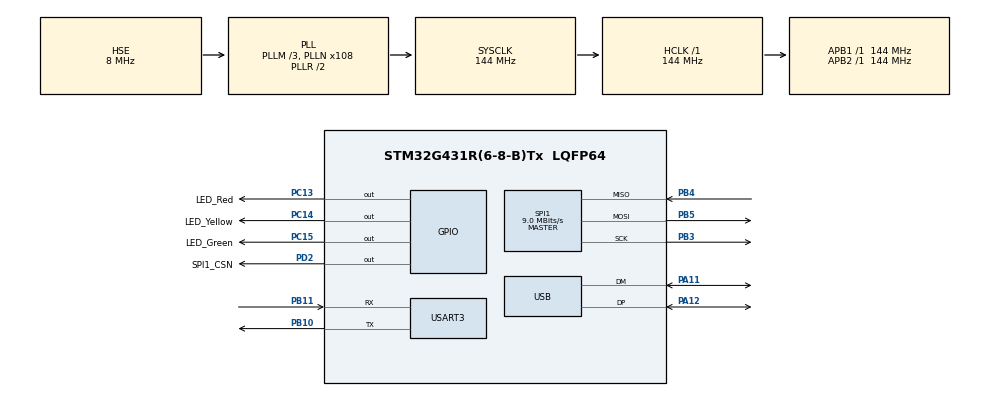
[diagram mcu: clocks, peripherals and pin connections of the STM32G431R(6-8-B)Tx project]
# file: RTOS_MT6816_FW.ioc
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Dma.Request0=USART3_RX
Dma.Request1=USART3_TX
Dma.USART3_RX.0.Direction=DMA_PERIPH_TO_MEMORY
Dma.USART3_RX.0.EventEnable=DISABLE
Dma.USART3_RX.0.Instance=DMA1_Channel1
Dma.USART3_RX.0.MemDataAlignment=DMA_MDATAALIGN_BYTE
Dma.USART3_RX.0.MemInc=DMA_MINC_ENABLE
Dma.USART3_RX.0.Mode=DMA_CIRCULAR
Dma.USART3_RX.0.PeriphDataAlignment=DMA_PDATAALIGN_BYTE
Dma.USART3_RX.0.PeriphInc=DMA_PINC_DISABLE
Dma.USART3_RX.0.Polarity=HAL_DMAMUX_REQ_GEN_RISING
Dma.USART3_RX.0.Priority=DMA_PRIORITY_LOW
Dma.USART3_RX.0.RequestNumber=1
Dma.USART3_RX.0.SignalID=NONE
Dma.USART3_RX.0.SyncEnable=DISABLE
Dma.USART3_RX.0.SyncPolarity=HAL_DMAMUX_SYNC_NO_EVENT
Dma.USART3_RX.0.SyncRequestNumber=1
Dma.USART3_RX.0.SyncSignalID=NONE
Dma.USART3_TX.1.Direction=DMA_MEMORY_TO_PERIPH
Dma.USART3_TX.1.EventEnable=DISABLE
Dma.USART3_TX.1.Instance=DMA1_Channel2
Dma.USART3_TX.1.MemDataAlignment=DMA_MDATAALIGN_BYTE
Dma.USART3_TX.1.MemInc=DMA_MINC_ENABLE
Dma.USART3_TX.1.Mode=DMA_NORMAL
Dma.USART3_TX.1.PeriphDataAlignment=DMA_PDATAALIGN_BYTE
Dma.USART3_TX.1.PeriphInc=DMA_PINC_DISABLE
Dma.USART3_TX.1.Polarity=HAL_DMAMUX_REQ_GEN_RISING
Dma.USART3_TX.1.Priority=DMA_PRIORITY_LOW
Dma.USART3_TX.1.RequestNumber=1
Dma.USART3_TX.1.SignalID=NONE
Dma.USART3_TX.1.SyncEnable=DISABLE
Dma.USART3_TX.1.SyncPolarity=HAL_DMAMUX_SYNC_NO_EVENT
Dma.USART3_TX.1.SyncRequestNumber=1
Dma.USART3_TX.1.SyncSignalID=NONE
FREERTOS.Tasks01=defaultTask,24,500,StartDefaultTask,Default,NULL,Dynamic,NULL,NULL
FREERTOS.configENABLE_FPU=1
FREERTOS.configTOTAL_HEAP_SIZE=10240
Mcu.Family=STM32G4
Mcu.Name=STM32G431R(6-8-B)Tx
Mcu.Package=LQFP64
NVIC.DMA1_Channel1_IRQn=true\:5\:0\:false\:false\:true\:true\:false\:true\:true
NVIC.DMA1_Channel2_IRQn=true\:5\:0\:false\:false\:true\:true\:false\:true\:true
NVIC.PriorityGroup=NVIC_PRIORITYGROUP_4
NVIC.TIM6_DAC_IRQn=true\:15\:0\:false\:false\:true\:false\:false\:true\:true
NVIC.TimeBase=TIM6_DAC_IRQn
NVIC.TimeBaseIP=TIM6
NVIC.USART3_IRQn=true\:6\:0\:true\:false\:true\:true\:true\:true\:true
NVIC.USB_HP_IRQn=true\:5\:0\:true\:false\:true\:true\:true\:true\:true
NVIC.USB_LP_IRQn=true\:5\:0\:true\:false\:true\:true\:true\:true\:true
PA11.Mode=Device
PA11.Signal=USB_DM
PA12.Mode=Device
PA12.Signal=USB_DP
PA13.Mode=Serial_Wire
PA13.Signal=SYS_JTMS-SWDIO
PA14.Mode=Serial_Wire
PA14.Signal=SYS_JTCK-SWCLK
PB10.Mode=Asynchronous
PB10.Signal=USART3_TX
PB11.Mode=Asynchronous
PB11.Signal=USART3_RX
PB3.GPIO_Mode=GPIO_MODE_AF_PP
PB3.GPIO_PuPd=GPIO_NOPULL
PB3.GPIO_Speed=GPIO_SPEED_FREQ_LOW
PB3.Mode=Full_Duplex_Master
PB3.Signal=SPI1_SCK
PB4.GPIO_Mode=GPIO_MODE_AF_PP
PB4.Mode=Full_Duplex_Master
PB4.Signal=SPI1_MISO
PB5.GPIO_Speed=GPIO_SPEED_FREQ_LOW
PB5.Mode=Full_Duplex_Master
PB5.Signal=SPI1_MOSI
PC13.GPIO_Label=LED_Red
PC13.Signal=GPIO_Output
PC14-OSC32_IN.GPIO_Label=LED_Yellow
PC14-OSC32_IN.Signal=GPIO_Output
PC15-OSC32_OUT.GPIO_Label=LED_Green
PC15-OSC32_OUT.Signal=GPIO_Output
PD2.GPIO_Label=SPI1_CSN
PD2.Signal=GPIO_Output
PF0-OSC_IN.Mode=HSE-External-Oscillator
PF0-OSC_IN.Signal=RCC_OSC_IN
PF1-OSC_OUT.Mode=HSE-External-Oscillator
PF1-OSC_OUT.Signal=RCC_OSC_OUT
ProjectManager.HeapSize=0x800
ProjectManager.StackSize=0x400
ProjectManager.TargetToolchain=CMake
RCC.ADC12Freq_Value=144000000
RCC.AHBFreq_Value=144000000
RCC.APB1Freq_Value=144000000
RCC.APB1TimFreq_Value=144000000
RCC.APB2Freq_Value=144000000
RCC.APB2TimFreq_Value=144000000
RCC.CortexFreq_Value=144000000
RCC.EXTERNAL_CLOCK_VALUE=12288000
RCC.HCLKFreq_Value=144000000
RCC.HSE_VALUE=8000000
RCC.HSI48_VALUE=48000000
RCC.HSI_VALUE=16000000
RCC.LSE_VALUE=32768
RCC.PLLM=RCC_PLLM_DIV3
RCC.PLLN=108
RCC.PLLQ=RCC_PLLQ_DIV6
RCC.PLLSourceVirtual=RCC_PLLSOURCE_HSE
RCC.SYSCLKFreq_VALUE=144000000
RCC.SYSCLKSource=RCC_SYSCLKSOURCE_PLLCLK
RCC.USBFreq_Value=48000000
RCC.VCOOutputFreq_Value=288000000
SPI1.BaudRatePrescaler=SPI_BAUDRATEPRESCALER_16
SPI1.CLKPhase=SPI_PHASE_2EDGE
SPI1.CLKPolarity=SPI_POLARITY_HIGH
SPI1.CalculateBaudRate=9.0 MBits/s
SPI1.DataSize=SPI_DATASIZE_16BIT
SPI1.Direction=SPI_DIRECTION_2LINES
SPI1.Mode=SPI_MODE_MASTER
SPI1.VirtualType=VM_MASTER
USART3.VirtualMode-Asynchronous=VM_ASYNC
USB_DEVICE.APP_RX_DATA_SIZE=64
USB_DEVICE.APP_TX_DATA_SIZE=64
USB_DEVICE.CLASS_NAME_FS=CDC
USB_DEVICE.VirtualMode=Cdc
USB_DEVICE.VirtualModeFS=Cdc_FS
VP_FREERTOS_VS_CMSIS_V2.Mode=CMSIS_V2
VP_SYS_VS_DBSignals.Mode=DisableDeadBatterySignals
VP_SYS_VS_tim6.Mode=TIM6
VP_USB_DEVICE_VS_USB_DEVICE_CDC_FS.Mode=CDC_FS
board=custom

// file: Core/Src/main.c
/* USER CODE BEGIN Header */
/**
  ******************************************************************************
  * @file           : main.c
  * @brief          : Main program body
  ******************************************************************************
  * @attention
  *
  * Copyright (c) 2026 STMicroelectronics.
  * All rights reserved.
  *
  * This software is licensed under terms that can be found in the LICENSE file
  * in the root directory of this software component.
  * If no LICENSE file comes with this software, it is provided AS-IS.
  *
  ******************************************************************************
  */
/* USER CODE END Header */
#include "main.h"
#include "cmsis_os.h"
#include "dma.h"
#include "spi.h"
#include "usart.h"
#include "usb_device.h"
#include "gpio.h"

/* USER CODE BEGIN PV */
uint64_t serialNumber;
char serialNumberStr[13];
__attribute__((section(".ccmram"))) uint8_t ucHeap[configTOTAL_HEAP_SIZE];
/* USER CODE END PV */

void SystemClock_Config(void);
void MX_FREERTOS_Init(void);

int main(void)
{

  /* USER CODE BEGIN 1 */
  uint32_t uuid0 = *(uint32_t *) (UID_BASE + 0);
  uint32_t uuid1 = *(uint32_t *) (UID_BASE + 4);
  uint32_t uuid2 = *(uint32_t *) (UID_BASE + 8);
  uint32_t uuid_mixed_part = uuid0 + uuid2;
  serialNumber = ((uint64_t) uuid_mixed_part << 16) | (uint64_t) (uuid1 >> 16);

  uint64_t val = serialNumber;
  for (size_t i = 0; i < 12; ++i)
  {
    serialNumberStr[i] = "0123456789ABCDEF"[(val >> (48 - 4)) & 0xf];
    val <<= 4;
  }
  serialNumberStr[12] = 0;

  /* USER CODE END 1 */

  /* MCU Configuration--------------------------------------------------------*/

  /* Reset of all peripherals, Initializes the Flash interface and the Systick. */
  HAL_Init();

  /* Configure the system clock */
  SystemClock_Config();

  /* Initialize all configured peripherals */
  MX_GPIO_Init();
  MX_DMA_Init();
  MX_SPI1_Init();
  MX_USART3_UART_Init();

  /* Init scheduler */
  osKernelInitialize();  /* Call init function for freertos objects (in cmsis_os2.c) */
  MX_FREERTOS_Init();

  /* Start scheduler */
  osKernelStart();

  /* We should never get here as control is now taken by the scheduler */

  /* Infinite loop */
  while (1)
  {

  }
}

void SystemClock_Config(void)
{
  RCC_OscInitTypeDef RCC_OscInitStruct = {0};
  RCC_ClkInitTypeDef RCC_ClkInitStruct = {0};

  /** Configure the main internal regulator output voltage
  */
  HAL_PWREx_ControlVoltageScaling(PWR_REGULATOR_VOLTAGE_SCALE1);

  /** Initializes the RCC Oscillators according to the specified parameters
  * in the RCC_OscInitTypeDef structure.
  */
  RCC_OscInitStruct.OscillatorType = RCC_OSCILLATORTYPE_HSE;
  RCC_OscInitStruct.HSEState = RCC_HSE_ON;
  RCC_OscInitStruct.PLL.PLLState = RCC_PLL_ON;
  RCC_OscInitStruct.PLL.PLLSource = RCC_PLLSOURCE_HSE;
  RCC_OscInitStruct.PLL.PLLM = RCC_PLLM_DIV3;
  RCC_OscInitStruct.PLL.PLLN = 108;
  RCC_OscInitStruct.PLL.PLLP = RCC_PLLP_DIV2;
  RCC_OscInitStruct.PLL.PLLQ = RCC_PLLQ_DIV6;
  RCC_OscInitStruct.PLL.PLLR = RCC_PLLR_DIV2;
  if (HAL_RCC_OscConfig(&RCC_OscInitStruct) != HAL_OK)
  {
    Error_Handler();
  }

  /** Initializes the CPU, AHB and APB buses clocks
  */
  RCC_ClkInitStruct.ClockType = RCC_CLOCKTYPE_HCLK|RCC_CLOCKTYPE_SYSCLK
                              |RCC_CLOCKTYPE_PCLK1|RCC_CLOCKTYPE_PCLK2;
  RCC_ClkInitStruct.SYSCLKSource = RCC_SYSCLKSOURCE_PLLCLK;
  RCC_ClkInitStruct.AHBCLKDivider = RCC_SYSCLK_DIV1;
  RCC_ClkInitStruct.APB1CLKDivider = RCC_HCLK_DIV1;
  RCC_ClkInitStruct.APB2CLKDivider = RCC_HCLK_DIV1;

  if (HAL_RCC_ClockConfig(&RCC_ClkInitStruct, FLASH_LATENCY_4) != HAL_OK)
  {
    Error_Handler();
  }
}

void HAL_TIM_PeriodElapsedCallback(TIM_HandleTypeDef *htim)
{
  if (htim->Instance == TIM6)
  {
    HAL_IncTick();
  }
}

void Error_Handler(void)
{
  __disable_irq();
  while (1)
  {
  }
}

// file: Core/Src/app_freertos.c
/* USER CODE BEGIN Header */
/**
  ******************************************************************************
  * File Name          : app_freertos.c
  * Description        : Code for freertos applications
  ******************************************************************************
  * @attention
  *
  * Copyright (c) 2026 STMicroelectronics.
  * All rights reserved.
  *
  * This software is licensed under terms that can be found in the LICENSE file
  * in the root directory of this software component.
  * If no LICENSE file comes with this software, it is provided AS-IS.
  *
  ******************************************************************************
  */
/* USER CODE END Header */

#include "FreeRTOS.h"
#include "task.h"
#include "main.h"
#include "cmsis_os.h"

#include "usb_device.h"

/* USER CODE BEGIN Includes */
#include "common_inc.h"
#include "communication.hpp"
/* USER CODE END Includes */

/* USER CODE BEGIN Variables */
// List of semaphores
osSemaphoreId sem_usb_irq;
osSemaphoreId sem_uart3_dma;
osSemaphoreId sem_usb_rx;
osSemaphoreId sem_usb_tx;

/* USER CODE END Variables */
/* Definitions for defaultTask */
osThreadId_t defaultTaskHandle;
const osThreadAttr_t defaultTask_attributes = {
  .name = "defaultTask",
  .priority = (osPriority_t) osPriorityNormal,
  .stack_size = 500 * 2
};

void StartDefaultTask(void *argument);

void MX_FREERTOS_Init(void); /* (MISRA C 2004 rule 8.1) */

void MX_FREERTOS_Init(void) {

  /* USER CODE BEGIN RTOS_SEMAPHORES */
  /* add semaphores, ... */
  osSemaphoreDef(sem_usb_irq);
  sem_usb_irq = osSemaphoreNew(1, 0, osSemaphore(sem_usb_irq));

  // Create a semaphore for UART DMA and remove a token
  osSemaphoreDef(sem_uart3_dma);
  sem_uart3_dma = osSemaphoreNew(1, 1, osSemaphore(sem_uart3_dma));

  // Create a semaphore for USB RX, and start with no tokens by removing the starting one.
  osSemaphoreDef(sem_usb_rx);
  sem_usb_rx = osSemaphoreNew(1, 0, osSemaphore(sem_usb_rx));

  // Create a semaphore for USB TX
  osSemaphoreDef(sem_usb_tx);
  sem_usb_tx = osSemaphoreNew(1, 1, osSemaphore(sem_usb_tx));

  /* USER CODE END RTOS_SEMAPHORES */

  /* USER CODE BEGIN RTOS_QUEUES */
  /* add queues, ... */
  // This Task must run before MX_USB_DEVICE_Init(), so have to put it here.
  const osThreadAttr_t usbIrqTask_attributes = {
    .name = "usbIrqTask",
    .stack_size = 500,
    .priority = (osPriority_t) osPriorityAboveNormal,
  };
  usbIrqTaskHandle = osThreadNew(UsbDeferredInterruptTask, NULL, &usbIrqTask_attributes);
  /* USER CODE END RTOS_QUEUES */

  /* Create the thread(s) */
  /* creation of defaultTask */
  defaultTaskHandle = osThreadNew(StartDefaultTask, NULL, &defaultTask_attributes);

}

void StartDefaultTask(void *argument)
{
  /* init code for USB_Device */
  MX_USB_Device_Init();
  /* USER CODE BEGIN StartDefaultTask */
  /* Infinite loop */
  Main();
  for(;;)
  {
    osDelay(1);
  }
  /* USER CODE END StartDefaultTask */
}
